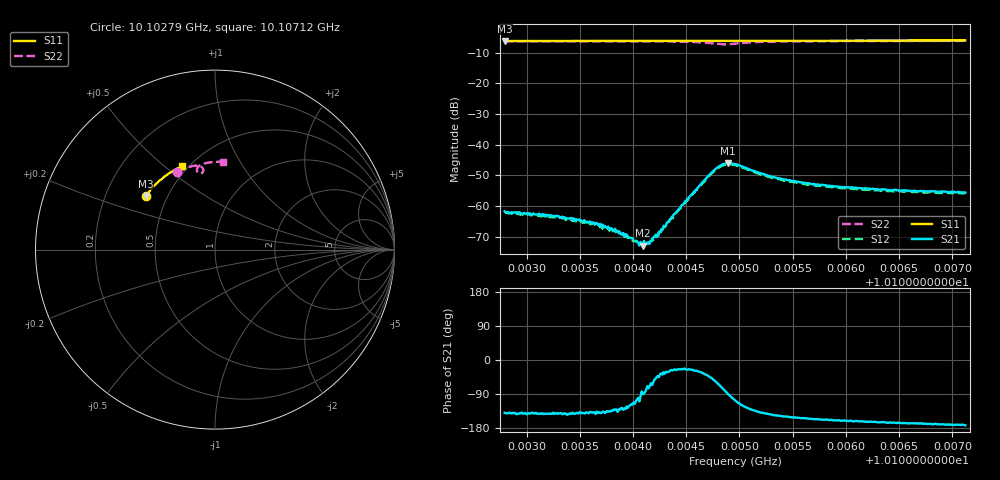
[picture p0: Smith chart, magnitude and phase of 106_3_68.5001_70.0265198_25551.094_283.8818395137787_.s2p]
#  HZ  S  RI  R  50.00
! Rohde & Schwarz Vector Network Analyzer
! Rohde-Schwarz,ZNB20-2Port,1311601062101988,3.16
! Created: UTC 3/20/2024, 4:53:16 PM
! freq[Hz]  re:S11  im:S11  re:S21  im:S21  re:S12  im:S12  re:S22  im:S22
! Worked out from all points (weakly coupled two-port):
!   401 points, 10.10279 GHz to 10.10712 GHz, reference 50 ohm
!   highest |S21| = -46.03 dB at 10.10489 GHz (marker M1); lowest = -73.0 dB at 10.10409 GHz (marker M2)
!   lowest |S11| = -6.2 dB at 10.10279 GHz (marker M3), VSWR 2.90, Z = 19 + j14.9 ohm
!   |S11| at or under -10 dB: nowhere
!   |S22| runs from -7.3 to -6.2 dB; largest |S21 - S12| = 0.00048
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1.0102794e10  -0.3849 0.2993  -0.000619 -0.000534  -0.000531 -0.000547  -0.2102 0.4316
1.0103281e10  -0.3672 0.323  -0.000534 -0.000446  -0.000454 -0.000453  -0.181 0.446
1.0103519e10  -0.3579 0.3342  -0.000434 -0.000362  -0.0004 -0.000372  -0.1662 0.4523
1.010367e10  -0.352 0.3413  -0.000374 -0.000321  -0.000353 -0.000351  -0.1563 0.456
1.0103746e10  -0.3489 0.3447  -0.00033 -0.000308  -0.000313 -0.000332  -0.1511 0.4578
1.0103865e10  -0.3441 0.35  -0.000244 -0.000284  -0.000241 -0.00031  -0.143 0.4607
1.0103952e10  -0.3404 0.3537  -0.000191 -0.000257  -0.000154 -0.000258  -0.1369 0.4624
1.0104071e10  -0.3355 0.359  -2.44e-05 -0.000259  -7.88e-06 -0.000239  -0.1281 0.4648
1.0104092e10  -0.3345 0.3601  -6.45e-07 -0.000224  8.83e-06 -0.000244  -0.1265 0.4651
1.0104136e10  -0.3326 0.3619  9.16e-05 -0.000238  0.000117 -0.000246  -0.1229 0.4659
1.0104179e10  -0.3307 0.3638  0.000111 -0.000251  0.000145 -0.000231  -0.1195 0.4664
1.0104244e10  -0.328 0.3666  0.000268 -0.00027  0.000264 -0.000196  -0.1142 0.4674
1.0104385e10  -0.3219 0.3724  0.000662 -0.000317  0.000657 -0.000218  -0.1013 0.4682
1.010472e10  -0.3064 0.386  0.00232 -0.00228  0.0024 -0.00201  -0.0661 0.4475
1.0104817e10  -0.302 0.3897  0.00172 -0.0042  0.002 -0.00387  -0.0709 0.4289
1.0104893e10  -0.2986 0.3926  1.24e-05 -0.00499  0.000424 -0.00478  -0.087 0.4244
1.0104958e10  -0.2957 0.3951  -0.00134 -0.00461  -0.000912 -0.00454  -0.0977 0.4322
1.0105315e10  -0.2787 0.4084  -0.00242 -0.0017  -0.00217 -0.00183  -0.0812 0.471
1.0105683e10  -0.2606 0.4215  -0.00206 -0.000928  -0.0019 -0.0011  -0.0523 0.4815
1.0105965e10  -0.2462 0.4307  -0.00191 -0.000697  -0.00174 -0.000848  -0.032 0.4854
1.0106408e10  -0.2231 0.4444  -0.00175 -0.000467  -0.00164 -0.00059  -0.00162 0.4884
1.0107123e10  -0.1843 0.4635  -0.00164 -0.000221  -0.00155 -0.000376  0.0456 0.4885
